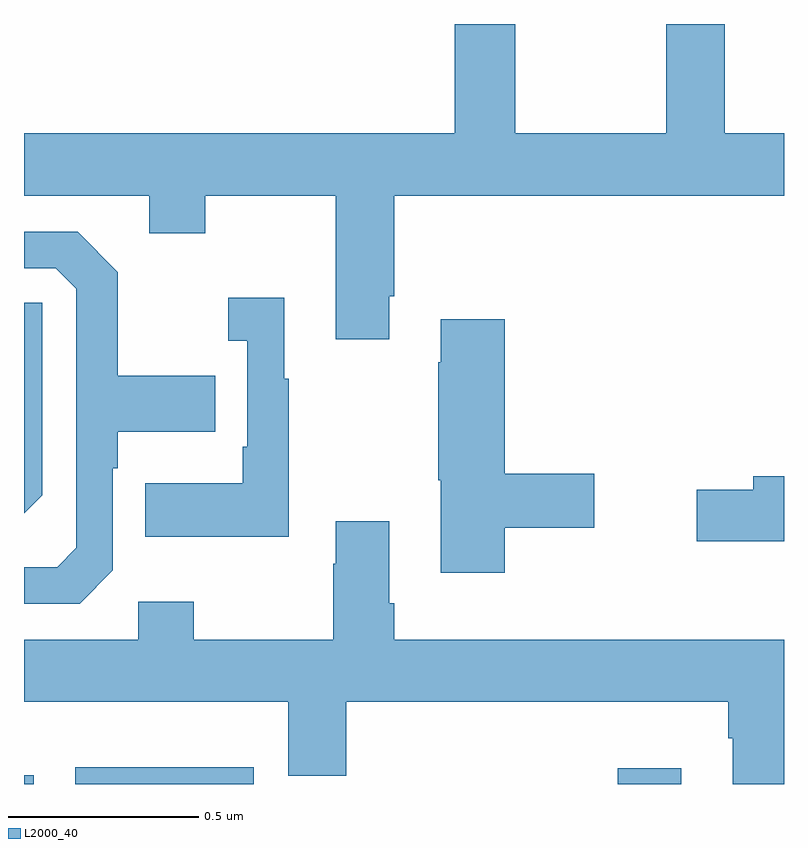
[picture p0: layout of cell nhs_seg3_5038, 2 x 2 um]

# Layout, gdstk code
import gdstk
lib = gdstk.Library(unit=1e-6, precision=1e-09)
def R(c, l, rs):  # rectangles x0, y0, x1, y1
    for r in rs: c.add(gdstk.rectangle(r[:2], r[2:], *l))
def P(c, l, *ps):  # polygons
    for p in ps: c.add(gdstk.Polygon(p, *l))
L2000_40 = (2000, 40)

nhs_seg3_5038 = lib.new_cell('nhs_seg3_5038')
R(nhs_seg3_5038, L2000_40, [(174,667.4,174.025,667.423), (174.135,667.4,174.604,667.444), (175.562,667.4,175.729,667.441)])
P(nhs_seg3_5038, L2000_40, [(174.961,668.683),(174.974,668.683),(174.974,668.948),(176,668.948),(176,669.112),(175.844,669.112),(175.844,669.4),(175.69,669.4),(175.69,669.112),(175.293,669.112),(175.293,669.4),(175.133,669.4),(175.133,669.112),(174,669.112),(174,668.948),(174.329,668.948),(174.329,668.849),(174.477,668.849),(174.477,668.948),(174.821,668.948),(174.821,668.571),(174.961,668.571)],
  [(174.234,667.962),(174.234,668.231),(174.247,668.231),(174.247,668.327),(174.503,668.327),(174.503,668.475),(174.247,668.475),(174.247,668.747),(174.141,668.853),(174,668.853),(174,668.757),(174.084,668.757),(174.138,668.703),(174.138,668.022),(174.087,667.971),(174,667.971),(174,667.875),(174.147,667.875)],
  [(174.697,668.467),(174.685,668.467),(174.685,668.68),(174.537,668.68),(174.537,668.567),(174.588,668.567),(174.588,668.287),(174.576,668.287),(174.576,668.191),(174.319,668.191),(174.319,668.051),(174.697,668.051)],
  [(174.048,668.16),(174.048,668.667),(174,668.667),(174,668.112)],
  [(175.265,668.074),(175.501,668.074),(175.501,668.216),(175.265,668.216),(175.265,668.623),(175.097,668.623),(175.097,668.51),(175.09,668.51),(175.09,668.199),(175.097,668.199),(175.097,667.956),(175.265,667.956)],
  [(176,668.21),(175.919,668.21),(175.919,668.174),(175.77,668.174),(175.77,668.039),(176,668.039)],
  [(176,667.78),(174.974,667.78),(174.974,667.876),(174.961,667.876),(174.961,668.092),(174.821,668.092),(174.821,667.979),(174.814,667.979),(174.814,667.78),(174.447,667.78),(174.447,667.879),(174.3,667.879),(174.3,667.78),(174,667.78),(174,667.616),(174.695,667.616),(174.695,667.422),(174.848,667.422),(174.848,667.616),(175.853,667.616),(175.853,667.52),(175.865,667.52),(175.865,667.4),(176,667.4)])

lib.write_gds('nhs_seg3_5038.gds')
